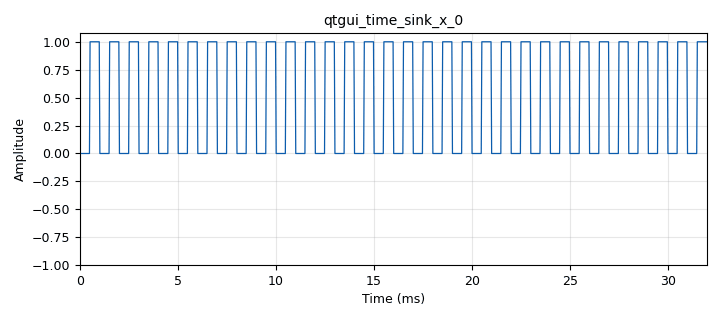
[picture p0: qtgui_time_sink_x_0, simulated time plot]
options:
  parameters:
    author: uis-e3t
    generate_options: qt_gui
    id: calc_pot
    output_language: python
    title: Not titled yet
  states: {}

blocks:
- name: A
  id: variable_qtgui_range
  parameters:
    orient: Qt.Horizontal
    start: '1'
    step: '1'
    stop: '20'
    value: '1'
  states: {}
- name: samp_rate
  id: variable
  parameters:
    value: '32000'
  states: {}
- name: CalculoPotenciaComunicaciones_0
  id: CalculoPotenciaComunicaciones
  parameters:
    l_vect: '1024'
  states: {}
- name: analog_sig_source_x_0
  id: analog_sig_source_x
  parameters:
    amp: A
    freq: '1000'
    offset: '0'
    phase: '0'
    samp_rate: samp_rate
    type: float
    waveform: analog.GR_SQR_WAVE
  states: {}
- name: qtgui_time_sink_x_0
  id: qtgui_time_sink_x
  parameters:
    size: '1024'
    srate: samp_rate
    type: float
  states: {}

connections:
- [analog_sig_source_x_0, '0', CalculoPotenciaComunicaciones_0, '0']
- [analog_sig_source_x_0, '0', qtgui_time_sink_x_0, '0']

metadata:
  file_format: 1
